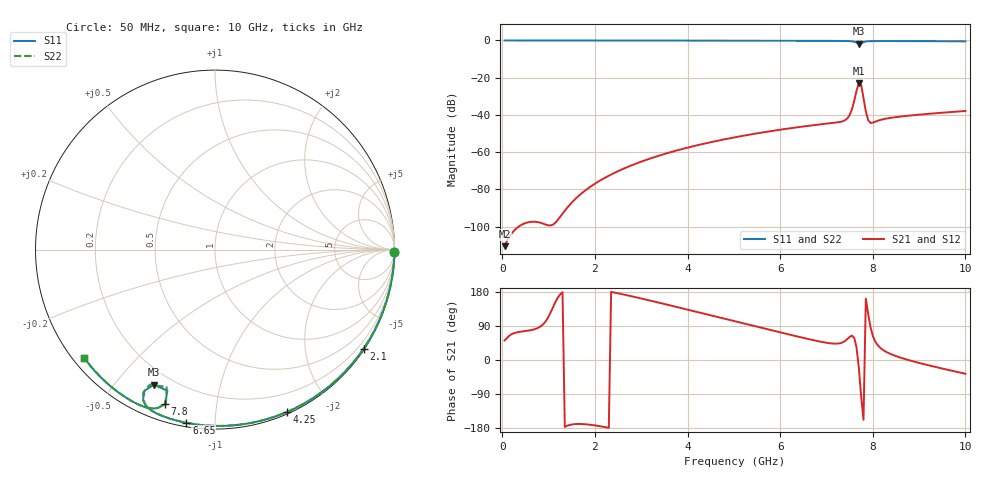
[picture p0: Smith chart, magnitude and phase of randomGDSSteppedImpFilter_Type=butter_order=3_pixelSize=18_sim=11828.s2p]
! freq	dB(S11)	phase(S11)	dB(S12)	phase(S12)
!  dB(S21)	phase(S21)	dB(S22)	phase(S22)
!S-par simulation data
#  GHz  S  DB  R 50
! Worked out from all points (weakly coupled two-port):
!   200 points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, 50 MHz to 10 GHz, reference 50 ohm
!   highest |S21| = -22.86 dB at 7.7 GHz (marker M1); lowest = -110.5 dB at 50 MHz (marker M2)
!   lowest |S11| = -1.7 dB at 7.7 GHz (marker M3), VSWR 10.54, Z = 6.69 - j31.8 ohm
!   |S11| at or under -10 dB: nowhere
!   |S22| runs from -1.8 to 0.0 dB; largest |S21 - S12| = 0
!   S11 on the Smith chart (normalised r, x): 50 MHz: open; 2.1 GHz: 0.03, -3.31; 4.25 GHz: 0.02, -1.54; 6.65 GHz: 0.02, -0.85; 7.8 GHz: 0.07, -0.72; 10 GHz: 0.03, -0.36
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0.05  -0.00 -0.8  -110.49 51.7  -110.49 51.7  -0.00 -0.8
1.75  -0.04 -28.2  -81.37 -169.2  -81.37 -169.2  -0.04 -28.2
1.85  -0.04 -29.7  -79.48 -170.2  -79.48 -170.2  -0.04 -29.7
2.1  -0.04 -33.6  -75.41 -174.5  -75.41 -174.5  -0.04 -33.7
2.65  -0.05 -42.2  -68.53 172.1  -68.53 172.1  -0.05 -42.2
3.4  -0.07 -53.5  -61.74 150.8  -61.74 150.8  -0.07 -53.5
4.25  -0.09 -66.0  -56.05 125.4  -56.05 125.4  -0.09 -66.0
5.05  -0.12 -77.4  -51.89 101.3  -51.89 101.3  -0.12 -77.4
6.65  -0.19 -99.3  -45.73 54.1  -45.73 54.1  -0.19 -99.4
6.7  -0.20 -100.0  -45.57 52.8  -45.57 52.8  -0.20 -100.0
7.3  -0.26 -108.7  -43.72 44.5  -43.72 44.5  -0.26 -108.7
7.45  -0.32 -111.5  -41.89 55.1  -41.89 55.1  -0.32 -111.5
7.55  -0.47 -114.1  -36.99 64.4  -36.99 64.4  -0.45 -114.0
7.65  -1.13 -116.5  -26.91 32.6  -26.91 32.6  -1.01 -116.6
7.7  -1.65 -114.4  -22.86 -21.5  -22.86 -21.5  -1.57 -115.7
7.75  -1.62 -108.6  -23.89 -97.9  -23.89 -97.9  -1.81 -109.4
7.8  -0.85 -108.0  -30.97 -157.8  -30.97 -157.8  -0.95 -107.7
7.85  -0.55 -109.9  -38.02 161.9  -38.02 161.9  -0.58 -109.6
7.9  -0.43 -111.4  -42.74 122.3  -42.74 122.3  -0.45 -111.2
7.95  -0.38 -112.7  -44.31 87.1  -44.31 87.1  -0.39 -112.5
8.35  -0.33 -119.3  -41.71 17.8  -41.71 17.8  -0.33 -119.3
10  -0.48 -140.5  -37.88 -36.4  -37.88 -36.4  -0.48 -140.5
